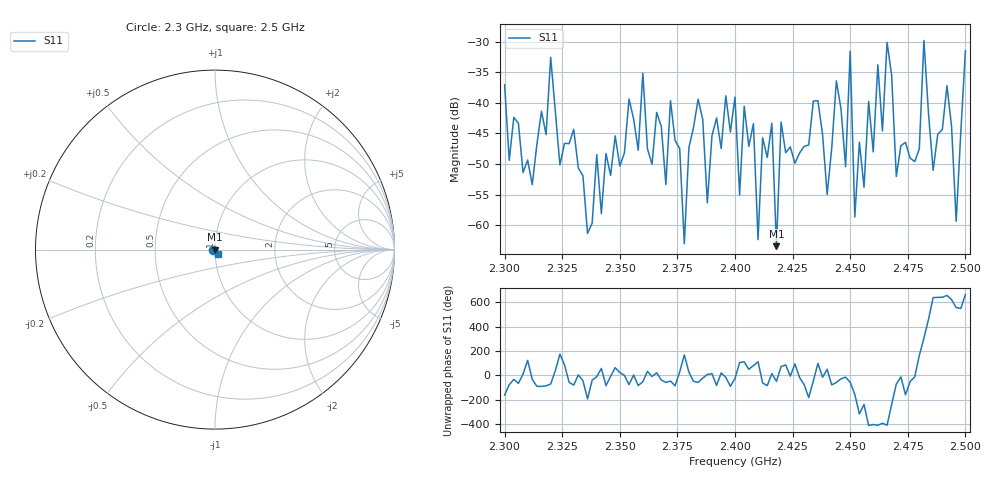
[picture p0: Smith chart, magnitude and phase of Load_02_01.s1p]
# HZ S RI R 50
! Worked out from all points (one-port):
!   101 points, 2.3 GHz to 2.5 GHz, reference 50 ohm
!   lowest |S11| = -63.4 dB at 2.418 GHz (marker M1), VSWR 1.00, Z = 50 - j0.0515 ohm
!   |S11| at or under -10 dB: start of sweep to end of sweep
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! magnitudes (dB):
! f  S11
! 2.3 GHz  -37.1
! 2.326 GHz  -46.6
! 2.35 GHz  -50.3
! 2.36 GHz  -35.2
! 2.376 GHz  -47.5
! 2.378 GHz  -63.0
! 2.384 GHz  -39.4
! 2.388 GHz  -56.3
! 2.4 GHz  -39.1
! 2.402 GHz  -55.1
! 2.408 GHz  -43.4
! 2.41 GHz  -62.3
! 2.416 GHz  -43.3
! 2.418 GHz  -63.4
! 2.42 GHz  -43.1
! 2.426 GHz  -49.9
! 2.436 GHz  -39.7
! 2.44 GHz  -55.0
! 2.444 GHz  -36.4
! 2.448 GHz  -50.4
! 2.45 GHz  -31.6
! 2.452 GHz  -58.6
! 2.466 GHz  -30.1
! 2.47 GHz  -52.0
! 2.476 GHz  -49.0
! 2.482 GHz  -29.8
! 2.496 GHz  -59.4
! 2.5 GHz  -31.5
